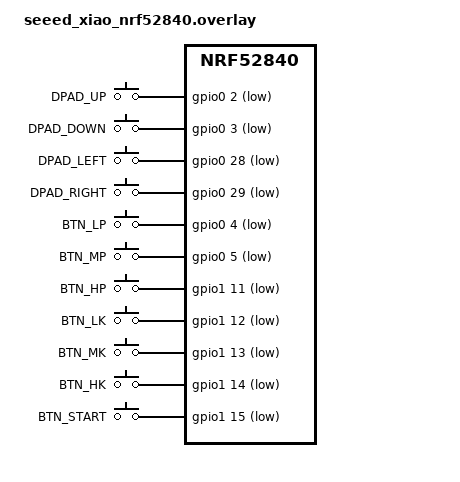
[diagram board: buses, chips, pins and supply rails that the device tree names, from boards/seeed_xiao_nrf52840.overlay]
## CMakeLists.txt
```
cmake_minimum_required(VERSION 3.20.0)
find_package(Zephyr REQUIRED HINTS $ENV{ZEPHYR_BASE})
project(fighting_gamepad_controller)
target_sources(app PRIVATE src/main.c)
```

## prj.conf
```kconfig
# ── ESB (Enhanced ShockBurst) ─────────────────────────────────────────────
CONFIG_ESB=y
CONFIG_CLOCK_CONTROL=y
CONFIG_CLOCK_CONTROL_NRF=y

# ── GPIO ──────────────────────────────────────────────────────────────────
CONFIG_GPIO=y

# ── Logging ───────────────────────────────────────────────────────────────
CONFIG_LOG=y
CONFIG_LOG_DEFAULT_LEVEL=3

# ── Kernel ────────────────────────────────────────────────────────────────
CONFIG_MAIN_STACK_SIZE=2048
CONFIG_HEAP_MEM_POOL_SIZE=4096

# ── Power: disable BLE stack entirely (not needed, would conflict with ESB)
CONFIG_BT=n
```

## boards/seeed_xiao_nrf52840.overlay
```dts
/*
 * Device tree overlay — Seeed XIAO nRF52840 (Controller / Sender)
 *
 * Physical wiring (all buttons active-LOW, switch to GND):
 *
 *   XIAO pin │ nRF52840 port │ Function
 *   ─────────┼───────────────┼──────────────────
 *   D0       │ P0.02         │ D-Pad UP
 *   D1       │ P0.03         │ D-Pad DOWN
 *   D2       │ P0.28         │ D-Pad LEFT
 *   D3       │ P0.29         │ D-Pad RIGHT
 *   D4       │ P0.04         │ LP  (Light Punch)
 *   D5       │ P0.05         │ MP  (Medium Punch)
 *   D6       │ P1.11         │ HP  (Hard Punch)
 *   D7       │ P1.12         │ LK  (Light Kick)
 *   D8       │ P1.13         │ MK  (Medium Kick)
 *   D9       │ P1.14         │ HK  (Hard Kick)
 *   D10      │ P1.15         │ START
 */

/ {
    aliases {
        dpad-up    = &dpad_up_node;
        dpad-down  = &dpad_down_node;
        dpad-left  = &dpad_left_node;
        dpad-right = &dpad_right_node;
        btn-lp     = &btn_lp_node;
        btn-mp     = &btn_mp_node;
        btn-hp     = &btn_hp_node;
        btn-lk     = &btn_lk_node;
        btn-mk     = &btn_mk_node;
        btn-hk     = &btn_hk_node;
        btn-start  = &btn_start_node;
    };

    fightpad_inputs {
        compatible = "gpio-keys";

        dpad_up_node: dpad_up {
            gpios = <&gpio0 2 (GPIO_ACTIVE_LOW | GPIO_PULL_UP)>;
            label = "DPAD_UP";
        };
        dpad_down_node: dpad_down {
            gpios = <&gpio0 3 (GPIO_ACTIVE_LOW | GPIO_PULL_UP)>;
            label = "DPAD_DOWN";
        };
        dpad_left_node: dpad_left {
            gpios = <&gpio0 28 (GPIO_ACTIVE_LOW | GPIO_PULL_UP)>;
            label = "DPAD_LEFT";
        };
        dpad_right_node: dpad_right {
            gpios = <&gpio0 29 (GPIO_ACTIVE_LOW | GPIO_PULL_UP)>;
            label = "DPAD_RIGHT";
        };
        btn_lp_node: btn_lp {
            gpios = <&gpio0 4 (GPIO_ACTIVE_LOW | GPIO_PULL_UP)>;
            label = "BTN_LP";
        };
        btn_mp_node: btn_mp {
            gpios = <&gpio0 5 (GPIO_ACTIVE_LOW | GPIO_PULL_UP)>;
            label = "BTN_MP";
        };
        btn_hp_node: btn_hp {
            gpios = <&gpio1 11 (GPIO_ACTIVE_LOW | GPIO_PULL_UP)>;
            label = "BTN_HP";
        };
        btn_lk_node: btn_lk {
            gpios = <&gpio1 12 (GPIO_ACTIVE_LOW | GPIO_PULL_UP)>;
            label = "BTN_LK";
        };
        btn_mk_node: btn_mk {
            gpios = <&gpio1 13 (GPIO_ACTIVE_LOW | GPIO_PULL_UP)>;
            label = "BTN_MK";
        };
        btn_hk_node: btn_hk {
            gpios = <&gpio1 14 (GPIO_ACTIVE_LOW | GPIO_PULL_UP)>;
            label = "BTN_HK";
        };
        btn_start_node: btn_start {
            gpios = <&gpio1 15 (GPIO_ACTIVE_LOW | GPIO_PULL_UP)>;
            label = "BTN_START";
        };
    };
};
```

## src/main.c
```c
/*
 * Fighting Game Controller - Sender
 * Hardware:  Seeed XIAO nRF52840
 * Protocol:  Nordic Enhanced ShockBurst (ESB) @ 2 Mbps
 * Latency:   ~1-2 ms end-to-end
 *
 * Pin map (XIAO nRF52840 silk → nRF52840 port):
 *   D0  P0.02  → UP
 *   D1  P0.03  → DOWN
 *   D2  P0.28  → LEFT
 *   D3  P0.29  → RIGHT
 *   D4  P0.04  → LP  (Light Punch)
 *   D5  P0.05  → MP  (Medium Punch)
 *   D6  P1.11  → HP  (Hard Punch)
 *   D7  P1.12  → LK  (Light Kick)
 *   D8  P1.13  → MK  (Medium Kick)
 *   D9  P1.14  → HK  (Hard Kick)
 *   D10 P1.15  → START
 *
 * All buttons are active-LOW (switch connects pin to GND).
 * Internal pull-ups are enabled by this firmware.
 *
 * SOCD mode is selected by holding buttons at power-on:
 *   Nothing held  → Neutral   (L+R = none, U+D = none)
 *   LP held       → Last Win  (most recent direction wins)
 *   MP held       → 2nd Win   (Hitbox standard: second press wins)
 */

#include <zephyr/kernel.h>
#include <zephyr/drivers/gpio.h>
#include <zephyr/logging/log.h>
#include <esb.h>
#include <string.h>

LOG_MODULE_REGISTER(controller, LOG_LEVEL_INF);

/* ── Packet (4 bytes, shared with dongle) ────────────────────────────────── */

typedef struct __packed {
    uint16_t buttons;  /* bit N = action button N pressed (active-high in packet) */
    uint8_t  dpad;     /* bits 3:0 = U/D/L/R after SOCD cleaning                 */
    uint8_t  crc;      /* CRC-8/MAXIM over bytes 0–2                              */
} gamepad_packet_t;

#define DPAD_UP    BIT(0)
#define DPAD_DOWN  BIT(1)
#define DPAD_LEFT  BIT(2)
#define DPAD_RIGHT BIT(3)

/* Action button bit positions in packet.buttons */
enum btn_idx {
    BTN_LP = 0, BTN_MP, BTN_HP,
    BTN_LK,     BTN_MK, BTN_HK,
    BTN_START,
    BTN_COUNT
};

/* ── ESB address (must match dongle exactly) ─────────────────────────────── */

static uint8_t esb_base_addr[4]  = {0x5A, 0x6B, 0x7C, 0x8D};
static uint8_t esb_addr_prefix[] = {0xF0};

/* ── GPIO specs from device tree ─────────────────────────────────────────── */

static const struct gpio_dt_spec dpad_pins[] = {
    GPIO_DT_SPEC_GET(DT_ALIAS(dpad_up),    gpios),  /* DPAD_UP    */
    GPIO_DT_SPEC_GET(DT_ALIAS(dpad_down),  gpios),  /* DPAD_DOWN  */
    GPIO_DT_SPEC_GET(DT_ALIAS(dpad_left),  gpios),  /* DPAD_LEFT  */
    GPIO_DT_SPEC_GET(DT_ALIAS(dpad_right), gpios),  /* DPAD_RIGHT */
};

static const struct gpio_dt_spec btn_pins[] = {
    GPIO_DT_SPEC_GET(DT_ALIAS(btn_lp),    gpios),
    GPIO_DT_SPEC_GET(DT_ALIAS(btn_mp),    gpios),
    GPIO_DT_SPEC_GET(DT_ALIAS(btn_hp),    gpios),
    GPIO_DT_SPEC_GET(DT_ALIAS(btn_lk),    gpios),
    GPIO_DT_SPEC_GET(DT_ALIAS(btn_mk),    gpios),
    GPIO_DT_SPEC_GET(DT_ALIAS(btn_hk),    gpios),
    GPIO_DT_SPEC_GET(DT_ALIAS(btn_start), gpios),
};

static const struct gpio_dt_spec led = GPIO_DT_SPEC_GET(DT_ALIAS(led0), gpios);

/* ── SOCD cleaning ───────────────────────────────────────────────────────── */

typedef enum {
    SOCD_NEUTRAL     = 0, /* L+R = none, U+D = none (tournament default) */
    SOCD_LAST_WIN    = 1, /* most recently pressed direction takes priority */
    SOCD_SECOND_WIN  = 2, /* second press wins (Hitbox standard)           */
    SOCD_MODE_COUNT
} socd_mode_t;

static socd_mode_t socd_mode = SOCD_NEUTRAL;
static uint8_t     prev_raw_dpad = 0;

static uint8_t socd_clean(uint8_t raw)
{
    uint8_t out = raw;

    switch (socd_mode) {

    case SOCD_NEUTRAL:
        if ((raw & DPAD_LEFT) && (raw & DPAD_RIGHT))
            out &= ~(DPAD_LEFT | DPAD_RIGHT);
        if ((raw & DPAD_UP)   && (raw & DPAD_DOWN))
            out &= ~(DPAD_UP | DPAD_DOWN);
        break;

    case SOCD_LAST_WIN:
        if ((raw & DPAD_LEFT) && (raw & DPAD_RIGHT)) {
            /* Bits that are NEW this cycle (just pressed) */
            uint8_t new_h = (raw ^ prev_raw_dpad) & raw & (DPAD_LEFT | DPAD_RIGHT);
            if      (new_h & DPAD_LEFT)  out &= ~DPAD_RIGHT;
            else if (new_h & DPAD_RIGHT) out &= ~DPAD_LEFT;
            else                         out &= ~(DPAD_LEFT | DPAD_RIGHT);
        }
        if ((raw & DPAD_UP) && (raw & DPAD_DOWN)) {
            uint8_t new_v = (raw ^ prev_raw_dpad) & raw & (DPAD_UP | DPAD_DOWN);
            if      (new_v & DPAD_UP)   out &= ~DPAD_DOWN;
            else if (new_v & DPAD_DOWN) out &= ~DPAD_UP;
            else                        out &= ~(DPAD_UP | DPAD_DOWN);
        }
        break;

    case SOCD_SECOND_WIN:
        if ((raw & DPAD_LEFT) && (raw & DPAD_RIGHT)) {
            uint8_t prev_h = prev_raw_dpad & (DPAD_LEFT | DPAD_RIGHT);
            if      (prev_h == DPAD_LEFT)  out &= ~DPAD_LEFT;   /* left was first, right wins */
            else if (prev_h == DPAD_RIGHT) out &= ~DPAD_RIGHT;  /* right was first, left wins */
            else                           out &= ~(DPAD_LEFT | DPAD_RIGHT);
        }
        if ((raw & DPAD_UP) && (raw & DPAD_DOWN)) {
            uint8_t prev_v = prev_raw_dpad & (DPAD_UP | DPAD_DOWN);
            if      (prev_v == DPAD_UP)   out &= ~DPAD_UP;
            else if (prev_v == DPAD_DOWN) out &= ~DPAD_DOWN;
            else                          out &= ~(DPAD_UP | DPAD_DOWN);
        }
        break;

    default:
        break;
    }

    prev_raw_dpad = raw;
    return out;
}

/* ── CRC-8/MAXIM (poly 0x31, reflected) ─────────────────────────────────── */

static uint8_t crc8(const uint8_t *data, size_t len)
{
    uint8_t crc = 0;
    for (size_t i = 0; i < len; i++) {
        crc ^= data[i];
        for (int j = 0; j < 8; j++)
            crc = (crc & 0x01) ? ((crc >> 1) ^ 0x8C) : (crc >> 1);
    }
    return crc;
}

/* ── Input reading ───────────────────────────────────────────────────────── */

static gamepad_packet_t read_inputs(void)
{
    gamepad_packet_t pkt = {0};

    for (int i = 0; i < BTN_COUNT; i++) {
        if (!gpio_pin_get_dt(&btn_pins[i]))   /* active-LOW */
            pkt.buttons |= BIT(i);
    }

    uint8_t raw = 0;
    if (!gpio_pin_get_dt(&dpad_pins[0])) raw |= DPAD_UP;
    if (!gpio_pin_get_dt(&dpad_pins[1])) raw |= DPAD_DOWN;
    if (!gpio_pin_get_dt(&dpad_pins[2])) raw |= DPAD_LEFT;
    if (!gpio_pin_get_dt(&dpad_pins[3])) raw |= DPAD_RIGHT;

    pkt.dpad = socd_clean(raw);
    pkt.crc  = crc8((const uint8_t *)&pkt, offsetof(gamepad_packet_t, crc));
    return pkt;
}

/* ── ESB ─────────────────────────────────────────────────────────────────── */

static volatile bool tx_done = true;

static void esb_event_handler(struct esb_evt const *event)
{
    switch (event->evt_id) {
    case ESB_EVENT_TX_SUCCESS:
        tx_done = true;
        gpio_pin_set_dt(&led, 1);
        break;
    case ESB_EVENT_TX_FAILED:
        tx_done = true;
        gpio_pin_set_dt(&led, 0);
        LOG_DBG("ESB TX failed");
        break;
    case ESB_EVENT_RX_RECEIVED:
        break;  /* ACKs handled by hardware */
    }
}

static int esb_controller_init(void)
{
    struct esb_config cfg = ESB_DEFAULT_CONFIG;
    cfg.protocol          = ESB_PROTOCOL_ESB_DPL;
    cfg.mode              = ESB_MODE_PTX;
    cfg.bitrate           = ESB_BITRATE_2MBPS;
    cfg.crc               = ESB_CRC_16BIT;
    cfg.tx_output_power   = ESB_TX_POWER_4DBM;
    cfg.retransmit_count  = 3;
    cfg.retransmit_delay  = 250;  /* µs */
    cfg.event_handler     = esb_event_handler;
    cfg.selective_auto_ack = false;

    int err = esb_init(&cfg);
    if (err) return err;

    err = esb_set_base_address_0(esb_base_addr);
    if (err) return err;

    return esb_set_prefixes(esb_addr_prefix, ARRAY_SIZE(esb_addr_prefix));
}

static void transmit(const gamepad_packet_t *pkt)
{
    struct esb_payload payload = {
        .pipe  = 0,
        .noack = false,
        .length = sizeof(gamepad_packet_t),
    };
    memcpy(payload.data, pkt, sizeof(gamepad_packet_t));

    esb_flush_tx();
    tx_done = false;
    if (esb_write_payload(&payload) != 0) {
        tx_done = true;
        LOG_ERR("esb_write_payload failed");
        return;
    }
    esb_start_tx();
}

/* ── Boot: detect SOCD mode from held buttons ────────────────────────────── */

static void detect_socd_mode(void)
{
    /* Hold at power-on: nothing=Neutral, LP=LastWin, MP=SecondWin */
    if      (!gpio_pin_get_dt(&btn_pins[BTN_LP])) socd_mode = SOCD_LAST_WIN;
    else if (!gpio_pin_get_dt(&btn_pins[BTN_MP])) socd_mode = SOCD_SECOND_WIN;
    else                                           socd_mode = SOCD_NEUTRAL;

    LOG_INF("SOCD mode: %d (%s)",
            socd_mode,
            socd_mode == SOCD_NEUTRAL    ? "Neutral" :
            socd_mode == SOCD_LAST_WIN   ? "Last Win" : "2nd Win");

    /* Flash LED: 1=Neutral, 2=LastWin, 3=SecondWin */
    for (int i = 0; i <= (int)socd_mode; i++) {
        gpio_pin_set_dt(&led, 1);
        k_sleep(K_MSEC(120));
        gpio_pin_set_dt(&led, 0);
        k_sleep(K_MSEC(120));
    }
}

/* ── main ────────────────────────────────────────────────────────────────── */

int main(void)
{
    LOG_INF("Fighting Gamepad Controller starting");

    gpio_pin_configure_dt(&led, GPIO_OUTPUT_INACTIVE);

    for (int i = 0; i < BTN_COUNT; i++)
        gpio_pin_configure_dt(&btn_pins[i], GPIO_INPUT | GPIO_PULL_UP);

    for (int i = 0; i < 4; i++)
        gpio_pin_configure_dt(&dpad_pins[i], GPIO_INPUT | GPIO_PULL_UP);

    /* Settle time for pins + SOCD mode detection */
    k_sleep(K_MSEC(50));
    detect_socd_mode();

    if (esb_controller_init() != 0) {
        LOG_ERR("ESB init failed – halting");
        while (1) k_sleep(K_FOREVER);
    }

    LOG_INF("ESB ready @ 2 Mbps");

    gamepad_packet_t prev = {.buttons = 0xFFFF, .dpad = 0xFF, .crc = 0};

    while (1) {
        gamepad_packet_t cur = read_inputs();

        /* Only transmit when state changes, or every 8 ms as a keepalive */
        bool changed = (cur.buttons != prev.buttons || cur.dpad != prev.dpad);

        if (changed && tx_done) {
            prev = cur;
            transmit(&cur);
        }

        /* 500 µs poll → 2000 Hz input sampling rate */
        k_sleep(K_USEC(500));
    }

    return 0;
}
```
